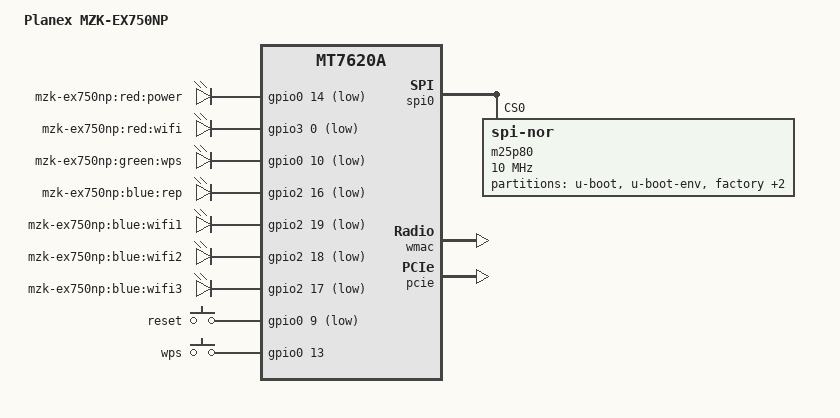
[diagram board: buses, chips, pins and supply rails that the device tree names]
/dts-v1/;

#include "mt7620a.dtsi"

/ {
	compatible = "ralink,mt7620a-soc";
	model = "Planex MZK-EX750NP";

	gpio-leds {
		compatible = "gpio-leds";

		power {
			label = "mzk-ex750np:red:power";
			gpios = <&gpio0 14 1>;
		};

		wifi {
			label = "mzk-ex750np:red:wifi";
			gpios = <&gpio3 0 1>;
		};

		wps {
			label = "mzk-ex750np:green:wps";
			gpios = <&gpio0 10 1>;
		};

		rep {
			label = "mzk-ex750np:blue:rep";
			gpios = <&gpio2 16 1>;
		};

		wifi1 {
			label = "mzk-ex750np:blue:wifi1";
			gpios = <&gpio2 19 1>;
		};

		wifi2 {
			label = "mzk-ex750np:blue:wifi2";
			gpios = <&gpio2 18 1>;
		};

		wifi3 {
			label = "mzk-ex750np:blue:wifi3";
			gpios = <&gpio2 17 1>;
		};
	};

	gpio-keys-polled {
		compatible = "gpio-keys-polled";
		#address-cells = <1>;
		#size-cells = <0>;
		poll-interval = <20>;

		reset {
			label = "reset";
			gpios = <&gpio0 9 1>;
			linux,code = <0x198>;
		};

		wps {
			label = "wps";
			gpios = <&gpio0 13 0>;
			linux,code = <0x211>;
		};
	};
};

&gpio2 {
	status = "okay";
};

&gpio3 {
	status = "okay";
};

&spi0 {
	status = "okay";

	m25p80@0 {
		#address-cells = <1>;
		#size-cells = <1>;
		compatible = "jedec,spi-nor";
		reg = <0>;
		linux,modalias = "m25p80", "w25q64";
		spi-max-frequency = <10000000>;

		partition@0 {
			label = "u-boot";
			reg = <0x0 0x30000>;
			read-only;
		};

		partition@30000 {
			label = "u-boot-env";
			reg = <0x30000 0x10000>;
			read-only;
		};

		factory: partition@40000 {
			label = "factory";
			reg = <0x40000 0x10000>;
			read-only;
		};

		partition@50000 {
			label = "firmware";
			reg = <0x50000 0x730000>;
		};

		partition@780000 {
			label = "Udata";
			reg = <0x780000 0x80000>;
		};
	};
};

&pinctrl {
	state_default: pinctrl0 {
		gpio {
			ralink,group = "uartf", "nd_sd", "rgmii2", "wled";
			ralink,function = "gpio";
		};
	};
};

&ethernet {
	pinctrl-names = "default";
	pinctrl-0 = <&ephy_pins>;
	mtd-mac-address = <&factory 0x4>;
	mediatek,portmap = "llllw";
};

&wmac {
	ralink,mtd-eeprom = <&factory 0>;
};

&pcie {
	status = "okay";

	pcie-bridge {
		mt76@0,0 {
			reg = <0x0000 0 0 0 0>;
			device_type = "pci";
			mediatek,mtd-eeprom = <&factory 0x8000>;
			mediatek,2ghz = <0>;
		};
	};
};
